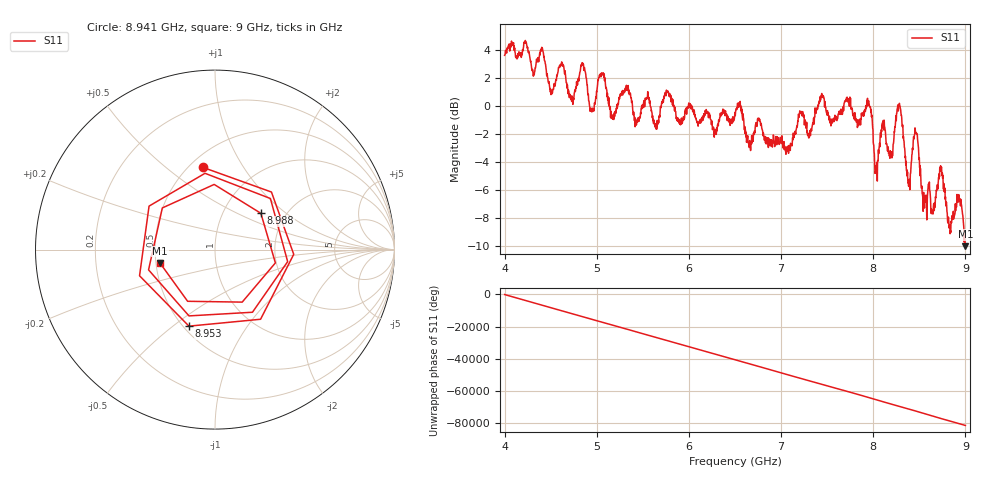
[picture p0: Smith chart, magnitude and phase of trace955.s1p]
! Created with skrf 1.8.0 (http://scikit-rf.org).
# Hz S RI R 50.0
!freq ReS11 ImS11
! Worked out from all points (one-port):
!   1601 points, 4 GHz to 9 GHz, reference 50 ohm
!   lowest |S11| = -10.0 dB at 9 GHz (marker M1), VSWR 1.92, Z = 26.3 - j4.38 ohm
!   |S11| at or under -10 dB: 8.999768 GHz to end of sweep
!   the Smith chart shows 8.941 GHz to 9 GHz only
!   S11 on the Smith chart (normalised r, x): 8.941 GHz: 0.58, +0.68; 8.953 GHz: 0.53, -0.57; 8.988 GHz: 1.50, +0.68; 9 GHz: 0.53, -0.09
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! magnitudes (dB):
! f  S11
! 4 GHz  3.6
! 4.403 GHz  4.2
! 4.509 GHz  1.0
! 4.625 GHz  2.9
! 4.725 GHz  0.7
! 4.847 GHz  3.1
! 4.944 GHz  -0.3
! 5.05 GHz  2.3
! 5.169 GHz  -0.7
! 5.25 GHz  0.7
! 5.875 GHz  -0.9
! 6.5 GHz  -0.5
! 7.125 GHz  -2.3
! 7.441 GHz  0.9
! 7.75 GHz  0.1
! 7.956 GHz  0.1
! 8.034 GHz  -4.2
! 8.194 GHz  -3.6
! 8.284 GHz  0.2
! 8.375 GHz  -5.4
! 8.459 GHz  -1.9
! 8.559 GHz  -6.5
! 8.731 GHz  -4.3
! 8.828 GHz  -8.5
! 8.941 GHz  -6.7
! 8.953 GHz  -6.9
! 8.988 GHz  -9.7
! 9 GHz  -10.0
